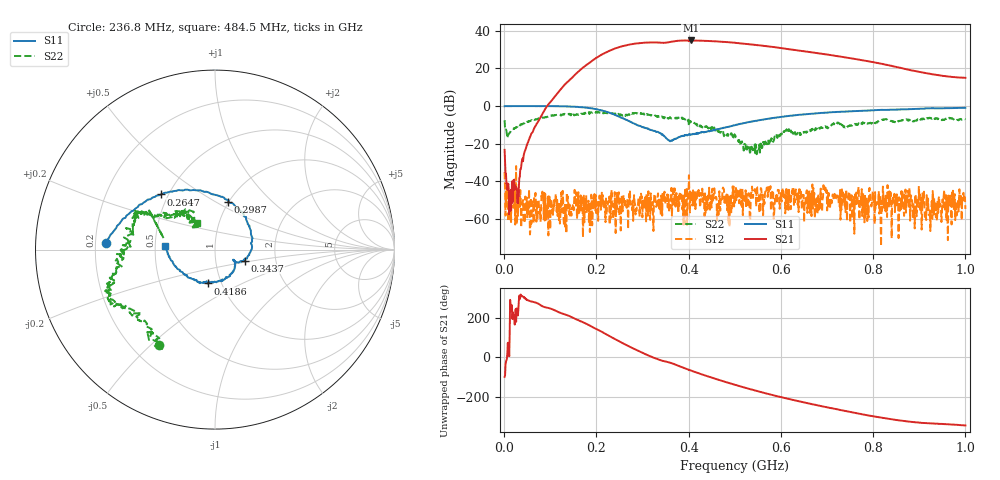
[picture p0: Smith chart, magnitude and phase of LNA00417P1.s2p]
! Created with skrf 1.9.0 (http://scikit-rf.org).
# Hz S RI R 50.0
!freq ReS11 ImS11 ReS21 ImS21 ReS12 ImS12 ReS22 ImS22
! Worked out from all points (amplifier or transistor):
!   1001 points, 1 MHz to 1 GHz, reference 50 ohm
!   highest |S21| = 34.9 dB at 404.6 MHz (marker M1)
!   |S21| within 3 dB of that: 257.2 MHz to 566.3 MHz (309 MHz wide, 75.1 % of centre)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
!   unconditionally stable (mu >= 1): 8.562 MHz to 73.8 MHz; 211.9 MHz to 229.7 MHz; 233 MHz to end of sweep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
!   at 166.8 MHz: K = 1.90, MAG = 32.2 dB, |S12| = -55.6 dB
!   at 500.5 MHz: K = 3.43, MAG = 34.4 dB, |S12| = -51.5 dB
!   at 1 GHz: K = 7.80, MAG = 23.0 dB, |S12| = -54.8 dB
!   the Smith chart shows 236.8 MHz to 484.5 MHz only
!   S11 on the Smith chart (normalised r, x): 236.8 MHz: 0.24, +0.03; 264.7 MHz: 0.46, +0.35; 298.7 MHz: 0.99, +0.57; 343.7 MHz: 1.38, -0.17; 418.6 MHz: 0.87, -0.34; 484.5 MHz: 0.56, +0.02
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1000000  0.9879 0.0144  -0.0112 -0.0675  -0.0173 0.0027  0.264 0.3277
1.08892e8  0.5291 -0.8435  -0.8056 -1.525  0.00159 -0.00157  0.4163 -0.3734
1.67833e8  -0.2167 -0.9043  -9.856 -0.6003  0.00271 -0.00109  0.0195 -0.623
2.07793e8  -0.6471 -0.4421  -15.88 15.32  -0.00277 -0.00152  -0.2148 -0.6446
2.36764e8  -0.6081 0.0356  -4.951 32.45  -0.000673 0.000711  -0.3144 -0.5337
2.64736e8  -0.2991 0.3075  18.09 37.32  -0.000644 -0.00222  -0.4764 -0.3486
2.98702e8  0.0722 0.2648  43.31 20.37  -0.00183 -0.00343  -0.5788 -0.2249
3.17683e8  0.1921 0.1318  49.11 4.494  0.00319 0.00352  -0.5431 -0.1283
3.34666e8  0.2004 -0.00521  48.24 -9.052  -0.00116 0.00157  -0.5369 -0.0232
3.43657e8  0.1652 -0.061  46.14 -14.36  -0.00203 0.00472  -0.4919 0.00408
3.72628e8  0.1124 -0.0795  42.84 -33.06  0.00309 0.00266  -0.4605 0.1755
4.04596e8  0.0363 -0.1704  21.91 -51.28  -0.00263 0.00358  -0.3404 0.1919
4.18582e8  -0.0377 -0.1889  11.04 -53.88  0.0016 0.00531  -0.2246 0.1978
4.49551e8  -0.1747 -0.1364  -11.92 -52.08  -0.00081 -0.00182  -0.1174 0.2105
4.84516e8  -0.2783 0.0195  -31.44 -39.34  0.00412 0.00226  -0.1022 0.1503
5.005e8  -0.2926 0.103  -37.16 -31.2  -0.00065 0.00257  -0.1052 0.1308
5.4046e8  -0.2369 0.3145  -41.78 -10.01  0.00483 -0.00207  -0.0676 0.024
5.88412e8  -0.0528 0.4874  -35.1 10.36  0.00156 -0.00269  -0.1356 -0.0688
6.67333e8  0.3169 0.5438  -13.7 22.91  0.00125 -0.00677  -0.2318 -0.0437
7.53247e8  0.6174 0.3847  3.272 18.25  -0.000239 -0.00423  -0.2952 0.0397
8.34166e8  0.7798 0.162  8.444 8.725  -0.00198 0.000333  -0.4065 0.102
1e9  0.8242 -0.3635  5.537 1.189  -0.000129 -0.00182  -0.1368 0.4126
